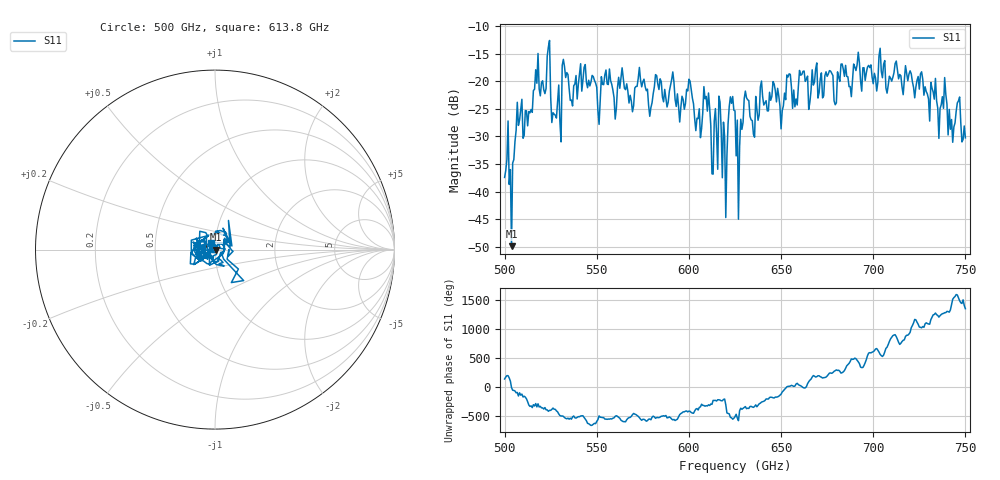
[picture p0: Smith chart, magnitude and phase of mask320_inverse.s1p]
!Created with skrf (http://scikit-rf.org).
# GHz S MA R 50.0
!freq magS11 angS11
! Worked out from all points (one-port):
!   401 points, 500 GHz to 750 GHz, reference 50 ohm
!   lowest |S11| = -49.9 dB at 503.8 GHz (marker M1), VSWR 1.01, Z = 50.3 - j0.0783 ohm
!   |S11| at or under -10 dB: start of sweep to end of sweep
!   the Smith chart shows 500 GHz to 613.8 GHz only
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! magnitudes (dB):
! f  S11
! 500 GHz  -37.4
! 503.8 GHz  -49.9
! 508.1 GHz  -27.0
! 511.2 GHz  -25.3
! 516.9 GHz  -17.9
! 523.8 GHz  -13.8
! 526.9 GHz  -26.0
! 531.2 GHz  -17.1
! 532.5 GHz  -17.3
! 536.2 GHz  -23.4
! 562.5 GHz  -21.3
! 593.8 GHz  -22.3
! 600 GHz  -19.6
! 605 GHz  -26.8
! 609.4 GHz  -22.7
! 612.5 GHz  -36.8
! 617.5 GHz  -28.6
! 619.4 GHz  -30.0
! 622.5 GHz  -22.8
! 625 GHz  -25.4
! 626.9 GHz  -45.0
! 631.2 GHz  -23.0
! 634.4 GHz  -27.1
! 640 GHz  -22.8
! 656.2 GHz  -24.9
! 687.5 GHz  -20.9
! 718.8 GHz  -19.9
! 750 GHz  -30.3
